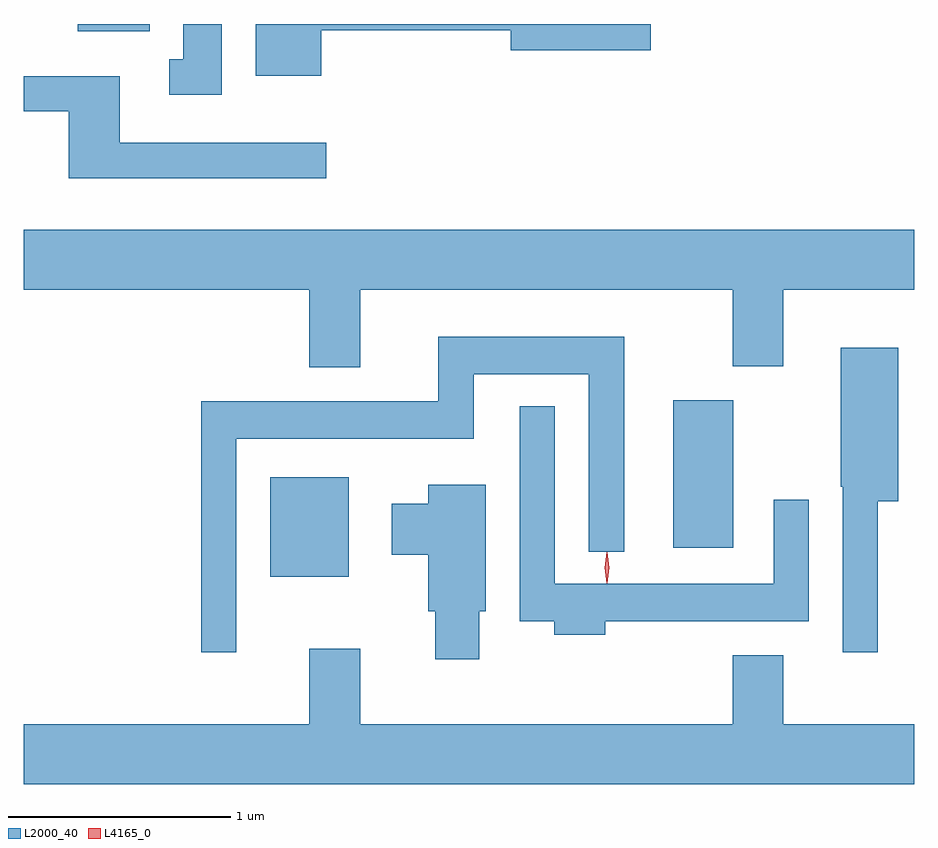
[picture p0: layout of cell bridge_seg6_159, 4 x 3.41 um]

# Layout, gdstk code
import gdstk
lib = gdstk.Library(unit=1e-6, precision=1e-09)
def R(c, l, rs):  # rectangles x0, y0, x1, y1
    for r in rs: c.add(gdstk.rectangle(r[:2], r[2:], *l))
def P(c, l, *ps):  # polygons
    for p in ps: c.add(gdstk.Polygon(p, *l))
L2000_40 = (2000, 40)
L4165_0 = (4165, 0)

bridge_seg6_159 = lib.new_cell('bridge_seg6_159')
R(bridge_seg6_159, L2000_40, [(1080.726,1566.506,1081.079,1566.954), (1082.536,1566.636,1082.804,1567.299), (1079.861,1568.956,1080.184,1568.988)])
P(bridge_seg6_159, L2000_40, [(1080.954,1568.961),(1081.806,1568.961),(1081.806,1568.871),(1082.434,1568.871),(1082.434,1568.988),(1080.661,1568.988),(1080.661,1568.756),(1080.954,1568.756)],
  [(1080.509,1568.988),(1080.336,1568.988),(1080.336,1568.829),(1080.273,1568.829),(1080.273,1568.671),(1080.509,1568.671)],
  [(1080.978,1568.454),(1080.049,1568.454),(1080.049,1568.754),(1079.618,1568.754),(1079.618,1568.596),(1079.821,1568.596),(1079.821,1568.296),(1080.978,1568.296)],
  [(1081.129,1567.796),(1082.801,1567.796),(1082.801,1567.451),(1083.029,1567.451),(1083.029,1567.796),(1083.618,1567.796),(1083.618,1568.064),(1079.618,1568.064),(1079.618,1567.796),(1080.901,1567.796),(1080.901,1567.446),(1081.129,1567.446)],
  [(1080.574,1567.126),(1081.639,1567.126),(1081.639,1567.416),(1082.156,1567.416),(1082.156,1566.618),(1082.314,1566.618),(1082.314,1567.584),(1081.481,1567.584),(1081.481,1567.294),(1080.416,1567.294),(1080.416,1566.168),(1080.574,1566.168)],
  [(1083.454,1566.846),(1083.544,1566.846),(1083.544,1567.534),(1083.286,1567.534),(1083.286,1566.91),(1083.296,1566.91),(1083.296,1566.168),(1083.454,1566.168)],
  [(1082.229,1566.306),(1083.144,1566.306),(1083.144,1566.853),(1082.986,1566.853),(1082.986,1566.474),(1082.004,1566.474),(1082.004,1567.273),(1081.846,1567.273),(1081.846,1566.306),(1082.001,1566.306),(1082.001,1566.246),(1082.229,1566.246)],
  [(1081.664,1566.351),(1081.694,1566.351),(1081.694,1566.919),(1081.436,1566.919),(1081.436,1566.834),(1081.271,1566.834),(1081.271,1566.606),(1081.436,1566.606),(1081.436,1566.351),(1081.466,1566.351),(1081.466,1566.136),(1081.664,1566.136)],
  [(1083.618,1565.844),(1083.029,1565.844),(1083.029,1566.154),(1082.801,1566.154),(1082.801,1565.844),(1081.129,1565.844),(1081.129,1566.184),(1080.901,1566.184),(1080.901,1565.844),(1079.618,1565.844),(1079.618,1565.576),(1083.618,1565.576)])
P(bridge_seg6_159, L4165_0, [(1082.237,1566.477),(1082.237,1566.477),(1082.227,1566.547),(1082.237,1566.616),(1082.237,1566.616),(1082.238,1566.616),(1082.247,1566.547),(1082.238,1566.477)])

lib.write_gds('bridge_seg6_159.gds')
